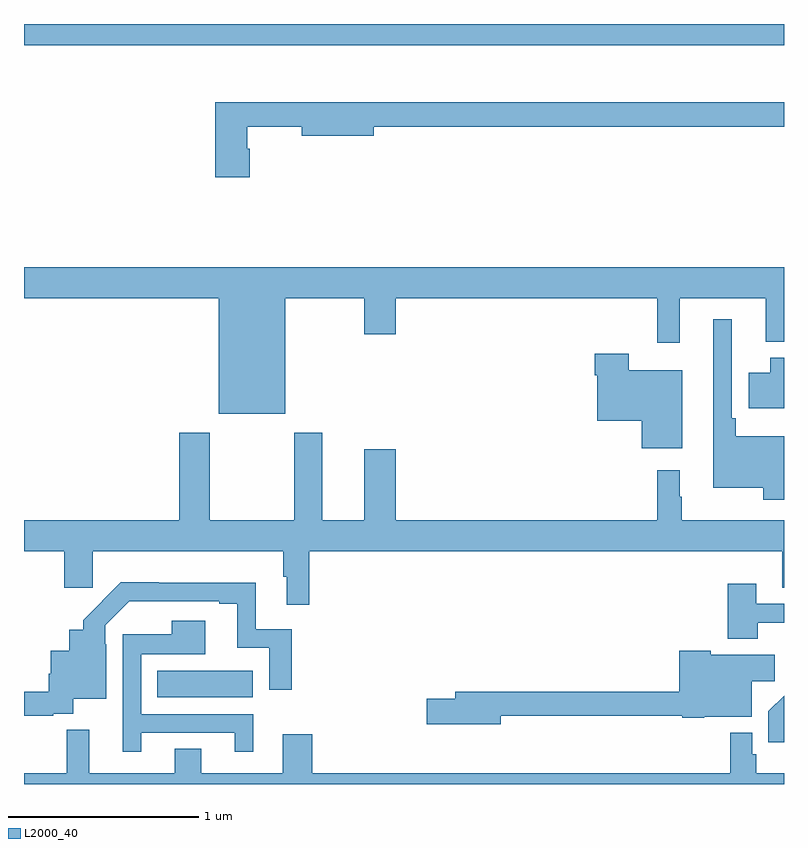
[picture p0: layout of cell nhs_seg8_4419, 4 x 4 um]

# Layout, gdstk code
import gdstk
lib = gdstk.Library(unit=1e-6, precision=1e-09)
def R(c, l, rs):  # rectangles x0, y0, x1, y1
    for r in rs: c.add(gdstk.rectangle(r[:2], r[2:], *l))
def P(c, l, *ps):  # polygons
    for p in ps: c.add(gdstk.Polygon(p, *l))
L2000_40 = (2000, 40)

nhs_seg8_4419 = lib.new_cell('nhs_seg8_4419')
R(nhs_seg8_4419, L2000_40, [(379.702,1158.356,380.203,1158.496), (379,1161.788,383,1161.9)])
P(nhs_seg8_4419, L2000_40, [(380.189,1161.243),(380.176,1161.243),(380.176,1161.358),(380.462,1161.358),(380.462,1161.311),(380.842,1161.311),(380.842,1161.358),(383,1161.358),(383,1161.487),(380.006,1161.487),(380.006,1161.093),(380.189,1161.093)],
  [(380.374,1160.456),(380.792,1160.456),(380.792,1160.268),(380.956,1160.268),(380.956,1160.456),(382.333,1160.456),(382.333,1160.223),(382.451,1160.223),(382.451,1160.456),(382.904,1160.456),(382.904,1160.228),(383,1160.228),(383,1160.62),(379,1160.62),(379,1160.456),(380.024,1160.456),(380.024,1159.85),(380.374,1159.85)],
  [(383,1159.729),(382.745,1159.729),(382.745,1159.825),(382.725,1159.825),(382.725,1160.347),(382.628,1160.347),(382.628,1159.46),(382.89,1159.46),(382.89,1159.395),(383,1159.395)],
  [(382.465,1160.077),(382.182,1160.077),(382.182,1160.164),(382.004,1160.164),(382.004,1160.051),(382.016,1160.051),(382.016,1159.811),(382.25,1159.811),(382.25,1159.667),(382.465,1159.667)],
  [(383,1160.143),(382.928,1160.143),(382.928,1160.065),(382.814,1160.065),(382.814,1159.877),(383,1159.877)],
  [(380.501,1159.124),(382.991,1159.124),(382.991,1158.934),(383,1158.934),(383,1159.288),(382.462,1159.288),(382.462,1159.412),(382.45,1159.412),(382.45,1159.552),(382.333,1159.552),(382.333,1159.288),(380.956,1159.288),(380.956,1159.663),(380.792,1159.663),(380.792,1159.288),(380.569,1159.288),(380.569,1159.75),(380.422,1159.75),(380.422,1159.288),(379.977,1159.288),(379.977,1159.75),(379.817,1159.75),(379.817,1159.288),(379,1159.288),(379,1159.124),(379.211,1159.124),(379.211,1158.933),(379.361,1158.933),(379.361,1159.124),(380.365,1159.124),(380.365,1158.992),(380.384,1158.992),(380.384,1158.843),(380.501,1158.843)],
  [(379.154,1158.27),(379.258,1158.27),(379.258,1158.35),(379.432,1158.35),(379.432,1158.635),(379.428,1158.635),(379.428,1158.735),(379.554,1158.861),(380.027,1158.861),(380.027,1158.849),(380.123,1158.849),(380.123,1158.618),(380.292,1158.618),(380.292,1158.396),(380.408,1158.396),(380.408,1158.714),(380.221,1158.714),(380.221,1158.958),(379.709,1158.958),(379.709,1158.961),(379.51,1158.961),(379.313,1158.763),(379.313,1158.712),(379.238,1158.712),(379.238,1158.601),(379.142,1158.601),(379.142,1158.48),(379.13,1158.48),(379.13,1158.386),(379,1158.386),(379,1158.258),(379.154,1158.258)],
  [(382.863,1158.75),(383,1158.75),(383,1158.849),(382.855,1158.849),(382.855,1158.955),(382.703,1158.955),(382.703,1158.665),(382.863,1158.665)],
  [(379.618,1158.171),(380.108,1158.171),(380.108,1158.069),(380.206,1158.069),(380.206,1158.267),(379.617,1158.267),(379.617,1158.584),(379.954,1158.584),(379.954,1158.76),(379.778,1158.76),(379.778,1158.688),(379.521,1158.688),(379.521,1158.069),(379.618,1158.069)],
  [(381.508,1158.258),(382.464,1158.258),(382.464,1158.25),(382.581,1158.25),(382.581,1158.254),(382.831,1158.254),(382.831,1158.442),(382.952,1158.442),(382.952,1158.58),(382.614,1158.58),(382.614,1158.601),(382.448,1158.601),(382.448,1158.386),(381.269,1158.386),(381.269,1158.35),(381.12,1158.35),(381.12,1158.215),(381.508,1158.215)],
  [(383,1158.364),(382.918,1158.282),(382.918,1158.12),(383,1158.12)],
  [(383,1157.956),(382.853,1157.956),(382.853,1158.057),(382.833,1158.057),(382.833,1158.169),(382.717,1158.169),(382.717,1157.956),(380.516,1157.956),(380.516,1158.163),(380.363,1158.163),(380.363,1157.956),(379.933,1157.956),(379.933,1158.086),(379.793,1158.086),(379.793,1157.956),(379.343,1157.956),(379.343,1158.185),(379.225,1158.185),(379.225,1157.956),(379,1157.956),(379,1157.9),(383,1157.9)])

lib.write_gds('nhs_seg8_4419.gds')
